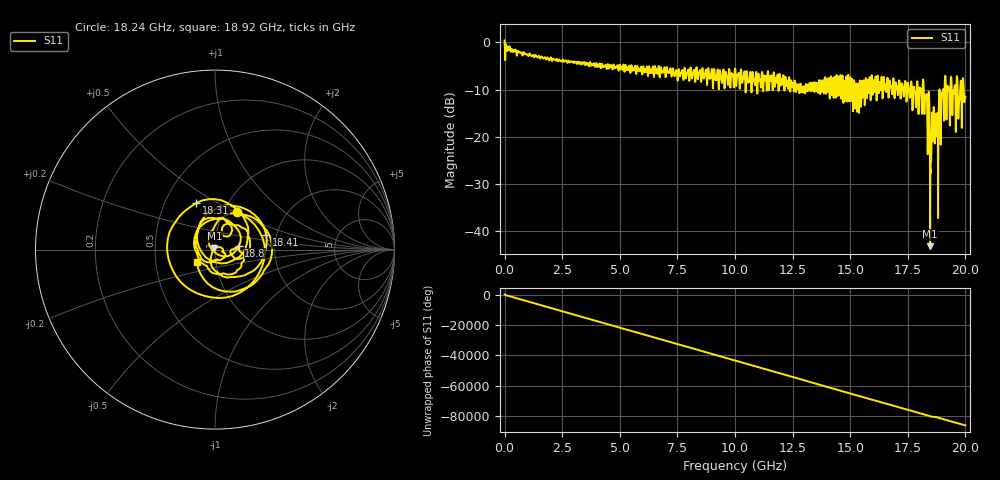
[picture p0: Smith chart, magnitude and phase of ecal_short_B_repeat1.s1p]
! MS46122B
! 2250307/22442219
! 7/23/2025 7:58:46 AM
! C:\USERS\SPARKY\DOCUMENTS\VNA_DATA\JULY23_2025\3K\ECAL_SHORT_B_REPEAT1.S1P
! CHANNEL.1
! TR.MEASUREMENT
! RAW.DATA
# GHZ S RI R 50.0
! FREQ.GHZ  S11RE  S11IM
!; PortSelection: Port_1
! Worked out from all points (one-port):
!   10001 points, 1 MHz to 20 GHz, reference 50 ohm
!   lowest |S11| = -43.2 dB at 18.47 GHz (marker M1), VSWR 1.01, Z = 49.7 + j0.629 ohm
!   |S11| at or under -10 dB: 18.19 GHz to 18.87 GHz (680.1 MHz wide, 3.67 % of centre); 18.88 GHz to 19.03 GHz (148 MHz wide, 0.781 % of centre); 19.41 GHz to 19.52 GHz (109.7 MHz wide, 0.564 % of centre) (the widest 3 of 81)
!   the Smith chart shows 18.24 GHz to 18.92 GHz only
!   S11 on the Smith chart (normalised r, x): 18.24 GHz: 1.15, +0.51; 18.31 GHz: 0.72, +0.40; 18.41 GHz: 1.77, +0.31; 18.8 GHz: 1.30, +0.06; 18.92 GHz: 0.81, -0.11
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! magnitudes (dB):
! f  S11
! 1 MHz  0.4
! 2.501 GHz  -3.8
! 5.001 GHz  -4.7
! 7.501 GHz  -7.8
! 10 GHz  -5.5
! 12.5 GHz  -8.8
! 15 GHz  -7.4
! 15.29 GHz  -14.6
! 16.02 GHz  -8.1
! 17.5 GHz  -8.5
! 18.24 GHz  -12.4
! 18.31 GHz  -11.1
! 18.36 GHz  -19.0
! 18.41 GHz  -10.6
! 18.47 GHz  -43.2
! 18.55 GHz  -17.2
! 18.63 GHz  -13.9
! 18.74 GHz  -19.5
! 18.8 GHz  -17.5
! 18.92 GHz  -18.4
! 19.19 GHz  -12.2
! 19.25 GHz  -10.2
! 19.31 GHz  -11.7
! 19.66 GHz  -9.3
! 19.72 GHz  -13.2
! 19.77 GHz  -10.7
! 19.84 GHz  -15.2
! 20 GHz  -11.6
